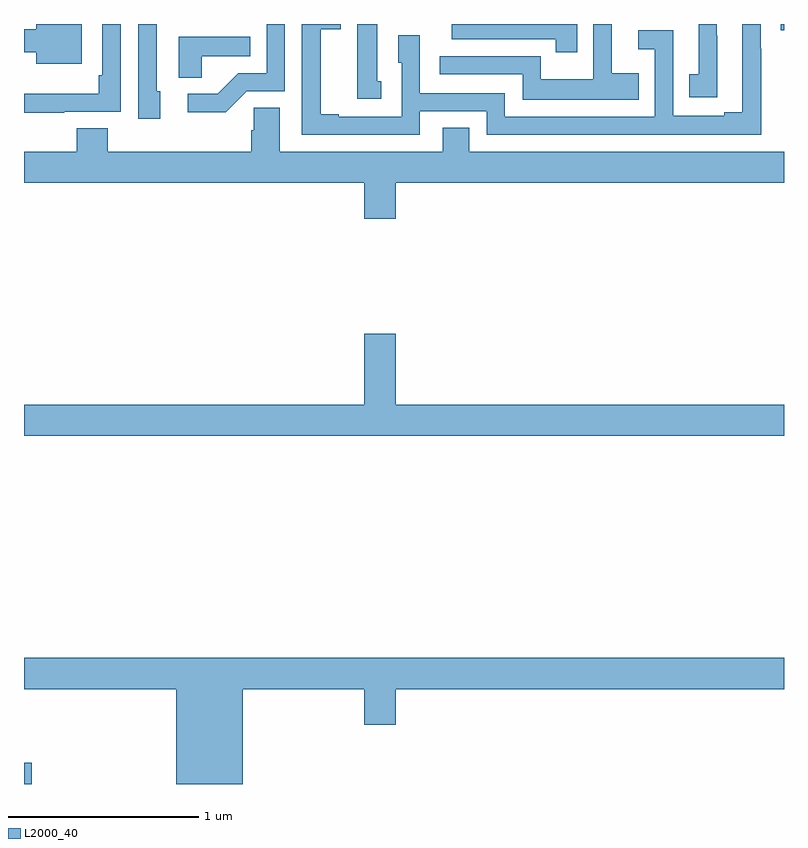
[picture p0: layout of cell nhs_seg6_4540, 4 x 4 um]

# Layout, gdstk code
import gdstk
lib = gdstk.Library(unit=1e-6, precision=1e-09)
def R(c, l, rs):  # rectangles x0, y0, x1, y1
    for r in rs: c.add(gdstk.rectangle(r[:2], r[2:], *l))
def P(c, l, *ps):  # polygons
    for p in ps: c.add(gdstk.Polygon(p, *l))
L2000_40 = (2000, 40)

nhs_seg6_4540 = lib.new_cell('nhs_seg6_4540')
R(nhs_seg6_4540, L2000_40, [(379,949.5,379.04,949.612), (382.983,953.466,383,953.5)])
P(nhs_seg6_4540, L2000_40, [(382.881,953.369),(382.878,953.369),(382.878,953.5),(382.781,953.5),(382.781,953.035),(382.685,953.035),(382.685,953.017),(382.416,953.017),(382.416,953.467),(382.233,953.467),(382.233,953.366),(382.32,953.366),(382.32,953.013),(381.531,953.013),(381.531,953.136),(381.084,953.136),(381.084,953.44),(380.969,953.44),(380.969,953.295),(380.988,953.295),(380.988,953.013),(380.656,953.013),(380.656,953.026),(380.561,953.026),(380.561,953.472),(380.668,953.472),(380.668,953.5),(380.463,953.5),(380.463,952.917),(381.084,952.917),(381.084,953.04),(381.435,953.04),(381.435,952.917),(382.423,952.917),(382.423,952.916),(382.881,952.916)],
  [(379.717,953.145),(379.698,953.145),(379.698,953.5),(379.602,953.5),(379.602,953.001),(379.717,953.001)],
  [(382.235,953.242),(382.093,953.242),(382.093,953.5),(381.996,953.5),(381.996,953.209),(381.72,953.209),(381.72,953.33),(381.617,953.33),(381.617,953.331),(381.189,953.331),(381.189,953.235),(381.624,953.235),(381.624,953.102),(382.235,953.102)],
  [(379.303,953.5),(379.064,953.5),(379.064,953.473),(379,953.473),(379,953.351),(379.064,953.351),(379.064,953.291),(379.303,953.291)],
  [(380.172,953.145),(380.373,953.145),(380.373,953.5),(380.277,953.5),(380.277,953.241),(380.127,953.241),(380.019,953.133),(379.863,953.133),(379.863,953.036),(380.062,953.036)],
  [(380.881,953.199),(380.86,953.199),(380.86,953.5),(380.753,953.5),(380.753,953.106),(380.881,953.106)],
  [(381.911,953.5),(381.251,953.5),(381.251,953.421),(381.798,953.421),(381.798,953.352),(381.911,953.352)],
  [(382.648,953.438),(382.647,953.438),(382.647,953.5),(382.55,953.5),(382.55,953.235),(382.501,953.235),(382.501,953.115),(382.648,953.115)],
  [(379.213,953.037),(379.509,953.037),(379.509,953.5),(379.413,953.5),(379.413,953.23),(379.393,953.23),(379.393,953.134),(379,953.134),(379,953.033),(379.213,953.033)],
  [(379.936,953.33),(380.192,953.33),(380.192,953.434),(379.814,953.434),(379.814,953.218),(379.936,953.218)],
  [(380.956,952.664),(383,952.664),(383,952.828),(381.343,952.828),(381.343,952.955),(381.203,952.955),(381.203,952.828),(380.347,952.828),(380.347,953.06),(380.209,953.06),(380.209,952.94),(380.195,952.94),(380.195,952.828),(379.442,952.828),(379.442,952.952),(379.277,952.952),(379.277,952.828),(379,952.828),(379,952.664),(380.792,952.664),(380.792,952.476),(380.956,952.476)],
  [(383,951.496),(380.956,951.496),(380.956,951.871),(380.792,951.871),(380.792,951.496),(379,951.496),(379,951.332),(383,951.332)],
  [(380.152,950),(380.792,950),(380.792,949.812),(380.956,949.812),(380.956,950),(383,950),(383,950.164),(379,950.164),(379,950),(379.802,950),(379.802,949.5),(380.152,949.5)])

lib.write_gds('nhs_seg6_4540.gds')
